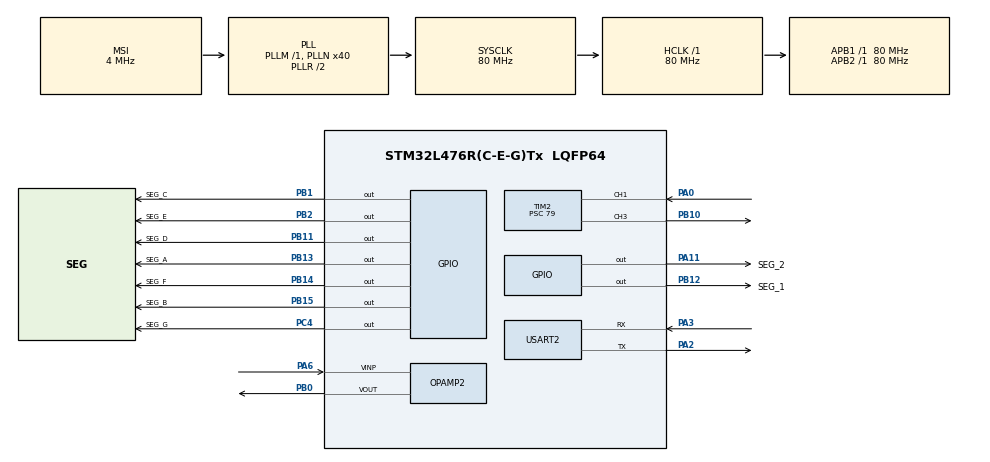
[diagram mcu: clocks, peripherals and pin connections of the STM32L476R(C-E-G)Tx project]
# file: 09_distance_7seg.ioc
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ADC1.Channel-1\#ChannelRegularConversion=ADC_CHANNEL_15
ADC1.ContinuousConvMode=ENABLE
ADC1.NbrOfConversionFlag=1
ADC1.OffsetNumber-1\#ChannelRegularConversion=ADC_OFFSET_NONE
ADC1.Overrun=ADC_OVR_DATA_OVERWRITTEN
ADC1.Rank-1\#ChannelRegularConversion=1
ADC1.SamplingTime-1\#ChannelRegularConversion=ADC_SAMPLETIME_640CYCLES_5
ADC1.master=1
Mcu.Family=STM32L4
Mcu.Name=STM32L476R(C-E-G)Tx
Mcu.Package=LQFP64
NVIC.PriorityGroup=NVIC_PRIORITYGROUP_4
NVIC.TIM2_IRQn=true\:10\:0\:true\:false\:true\:true\:true\:true
NVIC.TIM6_DAC_IRQn=true\:10\:0\:true\:false\:true\:true\:true\:true
OPAMP2.PgaGain=OPAMP_PGA_GAIN_4
OPAMP2.PowerSupplyRange=OPAMP_POWERSUPPLY_HIGH
PA0.Signal=S_TIM2_CH1
PA11.GPIO_Label=SEG_2
PA11.GPIO_ModeDefaultOutputPP=GPIO_MODE_OUTPUT_PP
PA11.GPIO_PuPd=GPIO_NOPULL
PA11.GPIO_Speed=GPIO_SPEED_FREQ_LOW
PA11.Signal=GPIO_Output
PA13\ (JTMS-SWDIO).Mode=Serial_Wire
PA13\ (JTMS-SWDIO).Signal=SYS_JTMS-SWDIO
PA14\ (JTCK-SWCLK).Mode=Serial_Wire
PA14\ (JTCK-SWCLK).Signal=SYS_JTCK-SWCLK
PA2.Mode=Asynchronous
PA2.Signal=USART2_TX
PA3.Mode=Asynchronous
PA3.Signal=USART2_RX
PA6.Mode=PGA Not Connected
PA6.Signal=OPAMP2_VINP
PB0.Signal=SharedAnalog_PB0
PB1.GPIO_Label=SEG_C
PB1.Signal=GPIO_Output
PB10.Signal=S_TIM2_CH3
PB11.GPIO_Label=SEG_D
PB11.Signal=GPIO_Output
PB12.GPIO_Label=SEG_1
PB12.GPIO_ModeDefaultOutputPP=GPIO_MODE_OUTPUT_PP
PB12.GPIO_PuPd=GPIO_NOPULL
PB12.GPIO_Speed=GPIO_SPEED_FREQ_LOW
PB12.Signal=GPIO_Output
PB13.GPIO_Label=SEG_A
PB13.Signal=GPIO_Output
PB14.GPIO_Label=SEG_F
PB14.Signal=GPIO_Output
PB15.GPIO_Label=SEG_B
PB15.Signal=GPIO_Output
PB2.GPIO_Label=SEG_E
PB2.Signal=GPIO_Output
PC4.GPIO_Label=SEG_G
PC4.Signal=GPIO_Output
ProjectManager.HeapSize=0x200
ProjectManager.StackSize=0x400
ProjectManager.TargetToolchain=STM32CubeIDE
RCC.ADCFreq_Value=32000000
RCC.AHBFreq_Value=80000000
RCC.APB1Freq_Value=80000000
RCC.APB1TimFreq_Value=80000000
RCC.APB2Freq_Value=80000000
RCC.APB2TimFreq_Value=80000000
RCC.CortexFreq_Value=80000000
RCC.HCLKFreq_Value=80000000
RCC.HSE_VALUE=8000000
RCC.HSI_VALUE=16000000
RCC.LSE_VALUE=32768
RCC.MSI_VALUE=4000000
RCC.PLLN=40
RCC.PLLSAI1N=16
RCC.SYSCLKFreq_VALUE=80000000
RCC.SYSCLKSource=RCC_SYSCLKSOURCE_PLLCLK
RCC.USBFreq_Value=32000000
RCC.VCOOutputFreq_Value=160000000
SH.S_TIM2_CH1.0=TIM2_CH1,Input_Capture1_from_TI1
SH.S_TIM2_CH3.0=TIM2_CH3,PWM Generation3 CH3
SH.SharedAnalog_PB0.0=ADC1_IN15
SH.SharedAnalog_PB0.1=OPAMP2_VOUT,PGA Not Connected
TIM2.Channel-Input_Capture1_from_TI1=TIM_CHANNEL_1
TIM2.Channel-Input_Capture2_from_TI1_63=TIM_CHANNEL_2
TIM2.Channel-PWM\ Generation3\ CH3=TIM_CHANNEL_3
TIM2.ICPolarity_CH1=TIM_INPUTCHANNELPOLARITY_FALLING
TIM2.Period=999999
TIM2.Prescaler=79
TIM2.Pulse-PWM\ Generation3\ CH3=10
TIM6.Period=1999
TIM6.Prescaler=7999
USART2.VirtualMode-Asynchronous=VM_ASYNC
VP_ADC1_OPAMP2_OUT.Mode=IN15-OPAMP2-Single-Ended
VP_TIM2_VS_ClockSourceINT.Mode=Internal
VP_TIM2_VS_indirect_ch1.Mode=Input_Capture2_from_TI1_63
VP_TIM6_VS_ClockSourceINT.Mode=Enable_Timer
board=custom

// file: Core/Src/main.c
/* USER CODE BEGIN Header */
/**
  ******************************************************************************
  * @file           : main.c
  * @brief          : Main program body
  ******************************************************************************
  * @attention
  *
  * Copyright (c) 2026 STMicroelectronics.
  * All rights reserved.
  *
  * This software is licensed under terms that can be found in the LICENSE file
  * in the root directory of this software component.
  * If no LICENSE file comes with this software, it is provided AS-IS.
  *
  ******************************************************************************
  */
/* USER CODE END Header */
#include "main.h"
#include "adc.h"
#include "opamp.h"
#include "tim.h"
#include "usart.h"
#include "gpio.h"

/* USER CODE BEGIN Includes */
#include "seg7.h"
/* USER CODE END Includes */

void SystemClock_Config(void);

/* USER CODE BEGIN 0 */
int __io_putchar(int ch)
{
  if (ch == '\n') {
    __io_putchar('\r');
  }

  HAL_UART_Transmit(&huart2, (uint8_t*)&ch, 1, HAL_MAX_DELAY);

  return 1;
}
static float calc_sound_speed(uint32_t adc_value)
{
	float voltage = (adc_value * 3.3f) / 4096.0f;
	float temp = adc_value * 330.0f / 4096.0f;
	float speed = 331.8f + 0.6f * temp;
	printf("ADC = %lu, V = %.3f V, T = %.1f C, speed = %.1f m/s\n", adc_value, voltage, temp, speed);

	return speed;
}

void HAL_TIM_PeriodElapsedCallback(TIM_HandleTypeDef *htim)
{
	if (htim == &htim6) {
		seg7_update();
	} else if (htim == &htim2) {
		uint32_t start = HAL_TIM_ReadCapturedValue(&htim2, TIM_CHANNEL_1);
		uint32_t stop = HAL_TIM_ReadCapturedValue(&htim2, TIM_CHANNEL_2);
		seg7_show((stop - start) / 58);
	}
}

/* USER CODE END 0 */

int main(void)
{

  /* MCU Configuration--------------------------------------------------------*/

  /* Reset of all peripherals, Initializes the Flash interface and the Systick. */
  HAL_Init();

  /* Configure the system clock */
  SystemClock_Config();

  /* Initialize all configured peripherals */
  MX_GPIO_Init();
  MX_USART2_UART_Init();
  MX_TIM2_Init();
  MX_TIM6_Init();
  MX_OPAMP2_Init();
  MX_ADC1_Init();

  /* Infinite loop */
  /* USER CODE BEGIN WHILE */
  HAL_TIM_Base_Start_IT(&htim6);
  HAL_TIM_Base_Start_IT(&htim2);
  HAL_TIM_IC_Start(&htim2, TIM_CHANNEL_1);
  HAL_TIM_PWM_Start(&htim2, TIM_CHANNEL_3);
  HAL_TIM_IC_Start(&htim2, TIM_CHANNEL_2);

  HAL_ADCEx_Calibration_Start(&hadc1, ADC_SINGLE_ENDED);
  HAL_ADC_Start(&hadc1);

  HAL_OPAMP_SelfCalibrate(&hopamp2);
  HAL_OPAMP_Start(&hopamp2);
  while (1)
  {

	uint32_t adc_value = HAL_ADC_GetValue(&hadc1);
	calc_sound_speed(adc_value);

	HAL_Delay(250);
    /* USER CODE END WHILE */

  }
}

void SystemClock_Config(void)
{
  RCC_OscInitTypeDef RCC_OscInitStruct = {0};
  RCC_ClkInitTypeDef RCC_ClkInitStruct = {0};

  /** Configure the main internal regulator output voltage
  */
  if (HAL_PWREx_ControlVoltageScaling(PWR_REGULATOR_VOLTAGE_SCALE1) != HAL_OK)
  {
    Error_Handler();
  }

  /** Initializes the RCC Oscillators according to the specified parameters
  * in the RCC_OscInitTypeDef structure.
  */
  RCC_OscInitStruct.OscillatorType = RCC_OSCILLATORTYPE_MSI;
  RCC_OscInitStruct.MSIState = RCC_MSI_ON;
  RCC_OscInitStruct.MSICalibrationValue = 0;
  RCC_OscInitStruct.MSIClockRange = RCC_MSIRANGE_6;
  RCC_OscInitStruct.PLL.PLLState = RCC_PLL_ON;
  RCC_OscInitStruct.PLL.PLLSource = RCC_PLLSOURCE_MSI;
  RCC_OscInitStruct.PLL.PLLM = 1;
  RCC_OscInitStruct.PLL.PLLN = 40;
  RCC_OscInitStruct.PLL.PLLP = RCC_PLLP_DIV7;
  RCC_OscInitStruct.PLL.PLLQ = RCC_PLLQ_DIV2;
  RCC_OscInitStruct.PLL.PLLR = RCC_PLLR_DIV2;
  if (HAL_RCC_OscConfig(&RCC_OscInitStruct) != HAL_OK)
  {
    Error_Handler();
  }

  /** Initializes the CPU, AHB and APB buses clocks
  */
  RCC_ClkInitStruct.ClockType = RCC_CLOCKTYPE_HCLK|RCC_CLOCKTYPE_SYSCLK
                              |RCC_CLOCKTYPE_PCLK1|RCC_CLOCKTYPE_PCLK2;
  RCC_ClkInitStruct.SYSCLKSource = RCC_SYSCLKSOURCE_PLLCLK;
  RCC_ClkInitStruct.AHBCLKDivider = RCC_SYSCLK_DIV1;
  RCC_ClkInitStruct.APB1CLKDivider = RCC_HCLK_DIV1;
  RCC_ClkInitStruct.APB2CLKDivider = RCC_HCLK_DIV1;

  if (HAL_RCC_ClockConfig(&RCC_ClkInitStruct, FLASH_LATENCY_4) != HAL_OK)
  {
    Error_Handler();
  }
}

void Error_Handler(void)
{
  __disable_irq();
  while (1)
  {
  }
}
